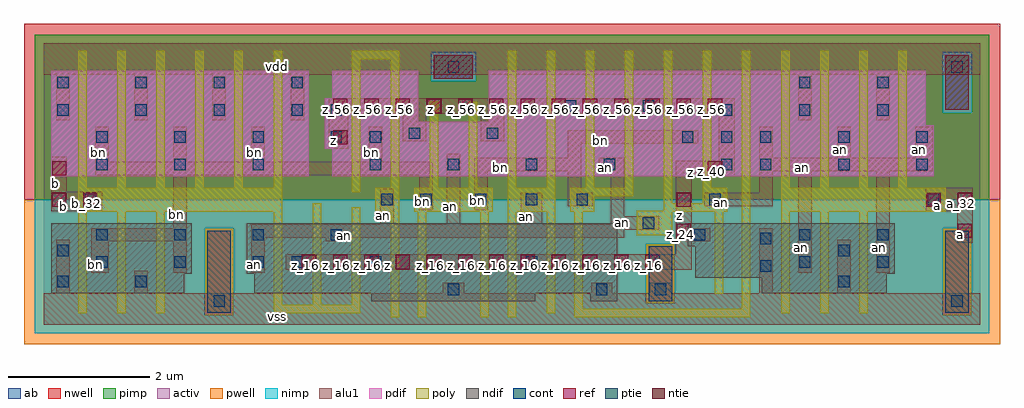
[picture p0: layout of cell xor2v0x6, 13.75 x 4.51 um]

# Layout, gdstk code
import gdstk
lib = gdstk.Library(unit=1e-6, precision=2.5e-09)
def R(c, l, rs):  # rectangles x0, y0, x1, y1
    for r in rs: c.add(gdstk.rectangle(r[:2], r[2:], *l))
def A(c, l, x, y, w, h, nx, ny, dx, dy):  # array of equal rectangles
    R(c, l, [(x+i*dx, y+j*dy, x+i*dx+w, y+j*dy+h) for i in range(nx) for j in range(ny)])
ndif = (3, 0)
pdif = (4, 0)
ntie = (5, 0)
ptie = (6, 0)
ref = (24, 0)
cont = (25, 0)
pwell = (41, 0)
nwell = (42, 0)
activ = (43, 0)
pimp = (44, 0)
nimp = (45, 0)
poly = (46, 0)
alu1 = (49, 0)
ab = (63, 0)

xor2v0x6 = lib.new_cell('xor2v0x6')
R(xor2v0x6, ndif, [(4.62,0.33,6.93,0.44), (7.7,0.33,8.085,0.44), (0.11,0.44,1.98,0.715), (2.97,0.44,8.085,0.715), (10.12,0.44,11.88,0.66), (9.185,0.66,11.88,0.715), (0.11,0.715,2.09,1.43), (2.86,0.715,8.085,1.43), (9.185,0.715,11.99,1.1), (9.075,1.1,11.99,1.43)])
R(xor2v0x6, pdif, [(0.11,2.09,3.74,3.575), (4.07,2.09,12.54,2.475), (3.96,2.475,12.54,2.805), (3.96,2.805,12.43,2.86), (3.96,2.86,5.28,3.19), (6.27,2.86,12.43,3.575), (4.07,3.19,5.28,3.575)])
R(xor2v0x6, ntie, [(12.705,3.025,13.035,3.795), (5.5,3.465,6.05,3.795)])
R(xor2v0x6, ptie, [(2.31,0.165,2.64,1.32), (12.705,0.165,13.035,1.32), (8.525,0.33,8.855,1.1)])
A(xor2v0x6, ref, 3.64, 0.78, 0.2, 0.2, 12, 1, 0.44, 0)
A(xor2v0x6, ref, 4.08, 2.98, 0.2, 0.2, 13, 1, 0.44, 0)
R(xor2v0x6, ref, [(8.92,1.22,9.12,1.42), (12.88,1.22,13.08,1.42), (0.12,1.66,0.32,1.86), (0.56,1.66,0.76,1.86), (8.92,1.66,9.12,1.86), (12.44,1.66,12.64,1.86), (12.88,1.66,13.08,1.86), (0.12,2.1,0.32,2.3), (9.36,2.1,9.56,2.3), (4.08,2.54,4.28,2.74)])
A(xor2v0x6, cont, 0.745, 0.8, 0.16, 0.16, 3, 2, 1.1, 1.375)
A(xor2v0x6, cont, 0.745, 1.185, 0.16, 0.16, 4, 2, 1.1, 1.375)
A(xor2v0x6, cont, 6.08, 1.68, 0.16, 0.16, 3, 1, 0.715, 0)
A(xor2v0x6, cont, 4.595, 2.175, 0.16, 0.16, 4, 1, 1.1, 0)
A(xor2v0x6, cont, 10.095, 2.175, 0.16, 0.16, 3, 1, 1.1, 0)
A(xor2v0x6, cont, 8.995, 2.56, 0.16, 0.16, 3, 1, 0.55, 0)
A(xor2v0x6, cont, 0.195, 2.945, 0.16, 0.16, 4, 2, 1.1, 0.385)
A(xor2v0x6, cont, 9.545, 2.945, 0.16, 0.16, 3, 1, 1.1, 0)
R(xor2v0x6, cont, [(2.395,0.25,2.555,0.41), (12.79,0.25,12.95,0.41), (5.695,0.415,5.855,0.575), (7.785,0.415,7.945,0.575), (8.61,0.415,8.77,0.575), (0.195,0.525,0.355,0.685), (1.295,0.525,1.455,0.685), (11.195,0.525,11.355,0.685), (10.095,0.745,10.255,0.905), (3.495,0.8,3.655,0.96), (4.595,0.8,4.755,0.96), (6.795,0.8,6.955,0.96), (10.645,0.8,10.805,0.96), (11.745,0.8,11.905,0.96), (0.195,0.965,0.355,1.125), (11.195,0.965,11.355,1.125), (10.095,1.13,10.255,1.29), (9.16,1.185,9.32,1.345), (10.645,1.185,10.805,1.345), (11.745,1.185,11.905,1.345), (8.445,1.35,8.605,1.51), (0.58,1.68,0.74,1.84), (4.76,1.68,4.92,1.84), (5.31,1.68,5.47,1.84), (9.38,1.68,9.54,1.84), (12.46,1.68,12.62,1.84), (9.545,2.175,9.705,2.335), (4.595,2.56,4.755,2.72), (11.195,2.56,11.355,2.72), (12.295,2.56,12.455,2.72), (5.145,2.615,5.305,2.775), (6.245,2.615,6.405,2.775), (4.045,2.945,4.205,3.105), (7.345,3,7.505,3.16), (8.445,3,8.605,3.16), (10.645,3.33,10.805,3.49), (11.745,3.33,11.905,3.49), (5.695,3.55,5.855,3.71), (12.79,3.55,12.95,3.71)])
R(xor2v0x6, pwell, [(-0.275,-0.275,13.475,1.76)])
R(xor2v0x6, nwell, [(-0.275,1.76,13.475,4.235)])
R(xor2v0x6, activ, [(2.31,0.165,2.64,1.32), (12.705,0.165,13.035,1.32), (4.62,0.33,6.93,0.44), (7.7,0.33,8.085,0.44), (8.525,0.33,8.855,1.1), (0.11,0.44,1.98,0.715), (2.97,0.44,8.085,0.715), (10.12,0.44,11.88,0.66), (9.185,0.66,11.88,0.715), (0.11,0.715,2.09,1.43), (2.86,0.715,8.085,1.43), (9.185,0.715,11.99,1.1), (9.075,1.1,11.99,1.43), (0.11,2.09,3.74,3.575), (4.07,2.09,12.54,2.475), (3.96,2.475,12.54,2.805), (3.96,2.805,12.43,2.86), (3.96,2.86,5.28,3.19), (6.27,2.86,12.43,3.575), (12.705,3.025,13.035,3.795), (4.07,3.19,5.28,3.575), (5.5,3.465,6.05,3.795)])
R(xor2v0x6, pimp, [(2.27,0.125,2.68,1.36), (12.665,0.125,13.075,1.36), (8.485,0.29,8.895,1.14), (-0.125,1.76,13.325,2.985), (-0.125,2.985,12.665,3.425), (13.075,2.985,13.325,3.835), (-0.125,3.425,5.46,3.835), (6.09,3.425,12.665,3.835), (-0.125,3.835,13.325,4.085)])
R(xor2v0x6, nimp, [(-0.125,-0.125,13.325,0.125), (-0.125,0.125,2.27,1.36), (2.68,0.125,12.665,0.29), (13.075,0.125,13.325,1.36), (2.68,0.29,8.485,1.14), (8.895,0.29,12.665,1.14), (2.68,1.14,12.665,1.36), (-0.125,1.36,13.325,1.76), (12.665,2.985,13.075,3.835), (5.46,3.425,6.09,3.835)])
A(xor2v0x6, poly, 0.49, 0.16, 0.12, 1.43, 3, 1, 0.55, 0)
A(xor2v0x6, poly, 10.39, 0.16, 0.12, 1.43, 3, 1, 0.55, 0)
A(xor2v0x6, poly, 0.49, 1.93, 0.12, 1.925, 6, 1, 0.55, 0)
A(xor2v0x6, poly, 6.54, 1.93, 0.12, 1.925, 4, 1, 0.55, 0)
A(xor2v0x6, poly, 10.39, 1.93, 0.12, 1.925, 4, 1, 0.55, 0)
R(xor2v0x6, poly, [(4.89,0.105,5.01,1.59), (5.275,0.105,5.395,1.59), (6.155,0.105,6.275,1.59), (6.54,0.105,6.66,1.59), (7.475,0.105,9.96,0.225), (3.24,0.16,4.46,0.28), (7.09,0.16,7.21,1.59), (7.475,0.225,7.595,1.59), (9.84,0.225,9.96,3.855), (3.24,0.28,3.36,1.59), (3.79,0.28,3.91,1.71), (4.34,0.28,4.46,1.655), (9.455,0.435,9.575,1.59), (8.355,1.26,8.86,1.59), (0.49,1.59,3.36,1.93), (4.67,1.59,5.01,1.93), (5.22,1.59,6.33,1.93), (6.54,1.59,7.21,1.93), (7.42,1.59,7.76,1.81), (8.355,1.59,9.63,1.6), (10.39,1.59,12.71,1.93), (8.74,1.6,9.63,1.71), (8.74,1.71,8.86,3.855), (9.29,1.71,9.63,1.93), (7.42,1.81,8.31,1.93), (4.34,1.865,4.46,3.735), (4.89,1.93,5.01,3.735), (5.44,1.93,5.56,3.14), (5.99,1.93,6.11,3.14), (9.29,1.93,9.41,3.855), (4.34,3.735,5.01,3.855)])
A(xor2v0x6, alu1, 0.73, 2.295, 0.19, 0.495, 3, 1, 1.1, 0)
A(xor2v0x6, alu1, 0.18, 2.875, 0.19, 0.645, 4, 1, 1.1, 0)
R(xor2v0x6, alu1, [(0,0,13.2,0.44), (0.18,0.44,0.37,1.195), (1.28,0.44,1.47,0.755), (5.625,0.44,5.925,0.59), (7.715,0.44,8.015,0.59), (8.54,0.44,8.84,0.59), (10.08,0.44,10.27,1.36), (11.18,0.44,11.37,1.195), (0.675,0.73,0.92,1.17), (1.83,0.73,2.02,1.17), (2.93,0.73,3.12,1.225), (10.63,0.73,10.82,2.16), (11.73,0.73,11.92,2.16), (3.41,0.77,9.13,0.99), (8.91,0.99,9.13,1.17), (12.87,1.155,13.09,1.595), (0.675,1.17,2.02,1.36), (3.975,1.17,4.275,1.225), (8.91,1.17,9.39,1.36), (2.93,1.225,8.18,1.335), (2.93,1.335,8.675,1.415), (1.83,1.36,2.02,2.105), (8.91,1.36,9.13,2.09), (4.745,1.415,4.935,1.91), (5.68,1.415,5.87,2.405), (6.725,1.415,7.025,1.855), (7.99,1.415,8.675,1.525), (7.99,1.525,8.18,2.16), (0.11,1.595,0.825,1.87), (12.43,1.595,13.09,1.925), (5.295,1.61,5.485,2.105), (6.065,1.61,6.255,2.16), (7.385,1.665,7.74,1.855), (9.31,1.665,10.27,1.855), (7.385,1.855,7.575,2.16), (10.08,1.855,10.27,2.16), (0.11,1.87,0.33,2.365), (8.91,2.09,9.735,2.31), (0.73,2.105,5.485,2.295), (6.065,2.16,7.575,2.35), (7.825,2.16,8.18,2.35), (10.08,2.16,12.525,2.35), (4.58,2.295,4.77,2.79), (9.515,2.31,9.735,2.97), (7.385,2.35,7.575,2.545), (10.08,2.35,10.27,2.79), (11.18,2.35,11.37,2.79), (12.28,2.35,12.525,2.79), (4.015,2.475,4.29,2.97), (7.385,2.545,9.225,2.735), (5.06,2.585,5.39,2.97), (6.16,2.585,6.49,2.97), (10.63,2.875,10.82,3.52), (11.73,2.875,11.92,3.52), (4.015,2.97,9.735,3.19), (0,3.52,13.2,3.96)])
R(xor2v0x6, ab, [(0,0,13.2,3.96)])
xor2v0x6.add(gdstk.Label('vss', (3.3,0.11), layer=49, texttype=0))
xor2v0x6.add(gdstk.Label('a', (12.925,1.265), layer=49, texttype=0))
xor2v0x6.add(gdstk.Label('a', (12.595,1.6775), layer=49, texttype=0))
xor2v0x6.add(gdstk.Label('an', (11.7775,1.0875), layer=49, texttype=0))
xor2v0x6.add(gdstk.Label('an', (10.6775,1.0875), layer=49, texttype=0))
xor2v0x6.add(gdstk.Label('z', (4.84,0.825), layer=49, texttype=0))
xor2v0x6.add(gdstk.Label('an', (2.9775,0.8525), layer=49, texttype=0))
xor2v0x6.add(gdstk.Label('an', (4.2425,1.2525), layer=49, texttype=0))
xor2v0x6.add(gdstk.Label('an', (9.55,1.7125), layer=49, texttype=0))
xor2v0x6.add(gdstk.Label('z', (8.965,1.5425), layer=49, texttype=0))
xor2v0x6.add(gdstk.Label('bn', (0.735,0.84), layer=49, texttype=0))
xor2v0x6.add(gdstk.Label('an', (8.16,1.4425), layer=49, texttype=0))
xor2v0x6.add(gdstk.Label('an', (10.69,2.2075), layer=49, texttype=0))
xor2v0x6.add(gdstk.Label('an', (12.34,2.46), layer=49, texttype=0))
xor2v0x6.add(gdstk.Label('an', (11.2275,2.46), layer=49, texttype=0))
xor2v0x6.add(gdstk.Label('z', (9.115,2.145), layer=49, texttype=0))
xor2v0x6.add(gdstk.Label('an', (6.8,1.525), layer=49, texttype=0))
xor2v0x6.add(gdstk.Label('bn', (6.1125,1.7475), layer=49, texttype=0))
xor2v0x6.add(gdstk.Label('an', (7.9125,2.2075), layer=49, texttype=0))
xor2v0x6.add(gdstk.Label('bn', (6.4425,2.2075), layer=49, texttype=0))
xor2v0x6.add(gdstk.Label('an', (5.7275,1.6625), layer=49, texttype=0))
xor2v0x6.add(gdstk.Label('bn', (5.3425,1.7325), layer=49, texttype=0))
xor2v0x6.add(gdstk.Label('an', (4.7925,1.5375), layer=49, texttype=0))
xor2v0x6.add(gdstk.Label('bn', (1.8775,1.545), layer=49, texttype=0))
xor2v0x6.add(gdstk.Label('b', (0.2875,1.6625), layer=49, texttype=0))
xor2v0x6.add(gdstk.Label('bn', (7.845,2.5925), layer=49, texttype=0))
xor2v0x6.add(gdstk.Label('bn', (4.6275,2.4175), layer=49, texttype=0))
xor2v0x6.add(gdstk.Label('z', (4.0825,2.5975), layer=49, texttype=0))
xor2v0x6.add(gdstk.Label('bn', (2.9775,2.4175), layer=49, texttype=0))
xor2v0x6.add(gdstk.Label('bn', (0.7775,2.4175), layer=49, texttype=0))
xor2v0x6.add(gdstk.Label('b', (0.165,1.9925), layer=49, texttype=0))
xor2v0x6.add(gdstk.Label('z', (5.445,3.025), layer=49, texttype=0))
xor2v0x6.add(gdstk.Label('vdd', (3.3,3.63), layer=49, texttype=0))
xor2v0x6.add(gdstk.Label('z_16', (5.01,0.83), layer=24, texttype=0))
xor2v0x6.add(gdstk.Label('z_16', (4.57,0.83), layer=24, texttype=0))
xor2v0x6.add(gdstk.Label('z_16', (4.13,0.83), layer=24, texttype=0))
xor2v0x6.add(gdstk.Label('z_16', (3.69,0.83), layer=24, texttype=0))
xor2v0x6.add(gdstk.Label('b_32', (0.17,1.71), layer=24, texttype=0))
xor2v0x6.add(gdstk.Label('b_32', (0.61,1.71), layer=24, texttype=0))
xor2v0x6.add(gdstk.Label('z_16', (5.45,0.83), layer=24, texttype=0))
xor2v0x6.add(gdstk.Label('a_32', (12.93,1.71), layer=24, texttype=0))
xor2v0x6.add(gdstk.Label('a_32', (12.49,1.71), layer=24, texttype=0))
xor2v0x6.add(gdstk.Label('a_24', (12.93,1.27), layer=24, texttype=0))
xor2v0x6.add(gdstk.Label('b_40', (0.17,2.15), layer=24, texttype=0))
xor2v0x6.add(gdstk.Label('z_16', (5.89,0.83), layer=24, texttype=0))
xor2v0x6.add(gdstk.Label('z_16', (6.33,0.83), layer=24, texttype=0))
xor2v0x6.add(gdstk.Label('z_16', (6.77,0.83), layer=24, texttype=0))
xor2v0x6.add(gdstk.Label('z_16', (7.21,0.83), layer=24, texttype=0))
xor2v0x6.add(gdstk.Label('z_16', (7.65,0.83), layer=24, texttype=0))
xor2v0x6.add(gdstk.Label('z_16', (8.09,0.83), layer=24, texttype=0))
xor2v0x6.add(gdstk.Label('z_16', (8.53,0.83), layer=24, texttype=0))
xor2v0x6.add(gdstk.Label('z_24', (8.97,1.27), layer=24, texttype=0))
xor2v0x6.add(gdstk.Label('z_32', (8.97,1.71), layer=24, texttype=0))
xor2v0x6.add(gdstk.Label('z_40', (9.41,2.15), layer=24, texttype=0))
xor2v0x6.add(gdstk.Label('z_56', (9.41,3.03), layer=24, texttype=0))
xor2v0x6.add(gdstk.Label('z_56', (8.97,3.03), layer=24, texttype=0))
xor2v0x6.add(gdstk.Label('z_56', (8.53,3.03), layer=24, texttype=0))
xor2v0x6.add(gdstk.Label('z_56', (8.09,3.03), layer=24, texttype=0))
xor2v0x6.add(gdstk.Label('z_56', (7.65,3.03), layer=24, texttype=0))
xor2v0x6.add(gdstk.Label('z_56', (7.21,3.03), layer=24, texttype=0))
xor2v0x6.add(gdstk.Label('z_56', (6.77,3.03), layer=24, texttype=0))
xor2v0x6.add(gdstk.Label('z_56', (6.33,3.03), layer=24, texttype=0))
xor2v0x6.add(gdstk.Label('z_56', (5.89,3.03), layer=24, texttype=0))
xor2v0x6.add(gdstk.Label('z_56', (5.45,3.03), layer=24, texttype=0))
xor2v0x6.add(gdstk.Label('z_56', (5.01,3.03), layer=24, texttype=0))
xor2v0x6.add(gdstk.Label('z_56', (4.57,3.03), layer=24, texttype=0))
xor2v0x6.add(gdstk.Label('z_56', (4.13,3.03), layer=24, texttype=0))
xor2v0x6.add(gdstk.Label('z_48', (4.13,2.59), layer=24, texttype=0))

lib.write_gds('xor2v0x6.gds')
